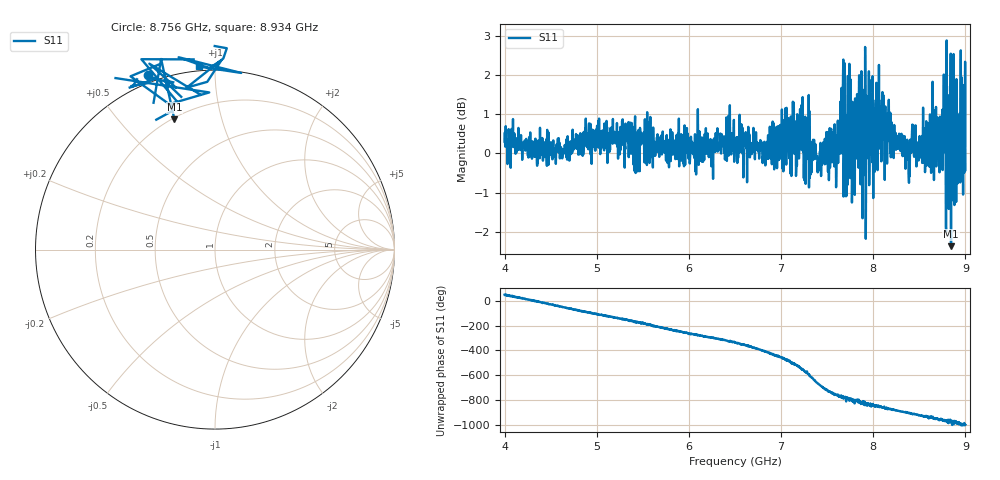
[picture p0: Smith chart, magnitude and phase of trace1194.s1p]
! Created with skrf 1.8.0 (http://scikit-rf.org).
# Hz S RI R 50.0
!freq ReS11 ImS11
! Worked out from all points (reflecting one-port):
!   1601 points, 4 GHz to 9 GHz, reference 50 ohm
!   lowest |S11| = -2.4 dB at 8.844 GHz (marker M1), VSWR 7.38, Z = 10.3 + j35.8 ohm
!   phase of S11 starts at 51 deg and turns -1052 deg over the sweep
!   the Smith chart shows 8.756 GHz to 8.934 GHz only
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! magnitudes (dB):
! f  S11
! 4 GHz  0.3
! 4.625 GHz  -0.1
! 5.25 GHz  0.0
! 5.875 GHz  0.1
! 6.5 GHz  0.1
! 6.819 GHz  0.3
! 7.125 GHz  0.1
! 7.219 GHz  0.1
! 7.419 GHz  -0.1
! 7.616 GHz  0.8
! 7.669 GHz  1.4
! 7.703 GHz  -1.1
! 7.75 GHz  -0.6
! 7.775 GHz  1.3
! 7.847 GHz  2.0
! 7.909 GHz  0.6
! 8.088 GHz  -0.2
! 8.375 GHz  -0.2
! 8.425 GHz  0.7
! 8.638 GHz  0.1
! 8.759 GHz  0.0
! 8.766 GHz  2.0
! 8.816 GHz  -1.1
! 8.844 GHz  -2.4
! 8.897 GHz  0.8
! 8.919 GHz  -0.6
! 8.972 GHz  0.7
! 9 GHz  -0.4
